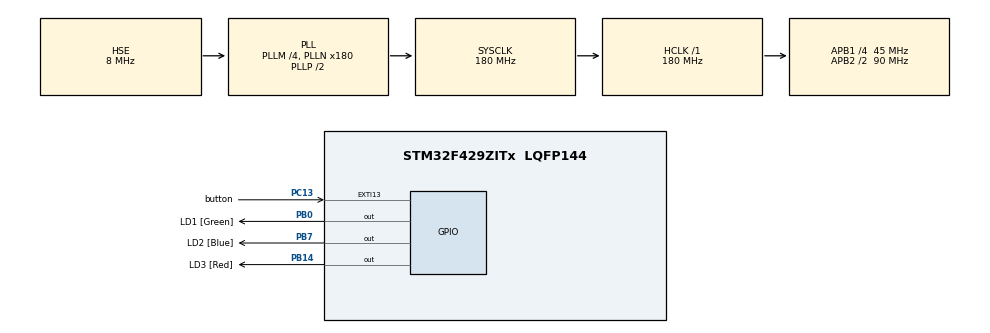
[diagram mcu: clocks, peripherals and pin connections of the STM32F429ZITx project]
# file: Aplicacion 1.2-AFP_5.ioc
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Mcu.Family=STM32F4
Mcu.Name=STM32F429ZITx
Mcu.Package=LQFP144
NVIC.PriorityGroup=NVIC_PRIORITYGROUP_4
PB0.GPIO_Label=LD1 [Green]
PB0.Signal=GPIO_Output
PB14.GPIO_Label=LD3 [Red]
PB14.Signal=GPIO_Output
PB7.GPIO_Label=LD2 [Blue]
PB7.Signal=GPIO_Output
PC13.GPIO_Label=button
PC13.Signal=GPXTI13
PH0/OSC_IN.Mode=HSE-External-Oscillator
PH0/OSC_IN.Signal=RCC_OSC_IN
PH1/OSC_OUT.Mode=HSE-External-Oscillator
PH1/OSC_OUT.Signal=RCC_OSC_OUT
ProjectManager.HeapSize=0x200
ProjectManager.StackSize=0x400
ProjectManager.TargetToolchain=STM32CubeIDE
RCC.48MHZClocksFreq_Value=51428571.428571425
RCC.AHBFreq_Value=180000000
RCC.APB1CLKDivider=RCC_HCLK_DIV4
RCC.APB1Freq_Value=45000000
RCC.APB1TimFreq_Value=90000000
RCC.APB2CLKDivider=RCC_HCLK_DIV2
RCC.APB2Freq_Value=90000000
RCC.APB2TimFreq_Value=180000000
RCC.CortexFreq_Value=180000000
RCC.HCLKFreq_Value=180000000
RCC.HSE_VALUE=8000000
RCC.HSI_VALUE=16000000
RCC.PLLM=4
RCC.PLLMUL=RCC_PLL_MUL9
RCC.PLLN=180
RCC.PLLQ=7
RCC.PLLSourceVirtual=RCC_PLLSOURCE_HSE
RCC.PRESCALERUSB=RCC_USBCLKSOURCE_PLL_DIV1_5
RCC.SYSCLKFreq_VALUE=180000000
RCC.SYSCLKSource=RCC_SYSCLKSOURCE_PLLCLK
RCC.SYSCLKSourceVirtual=RCC_SYSCLKSOURCE_PLLCLK
RCC.USBFreq_Value=48000000
RCC.VCOOutputFreq_Value=360000000
board=NUCLEO-F429ZI

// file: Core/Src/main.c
/* USER CODE BEGIN Header */
/**
  ******************************************************************************
  * @file           : main.c
  * @brief          : Main program body
  ******************************************************************************
  * @attention
  *
  * Copyright (c) 2026 STMicroelectronics.
  * All rights reserved.
  *
  * This software is licensed under terms that can be found in the LICENSE file
  * in the root directory of this software component.
  * If no LICENSE file comes with this software, it is provided AS-IS.
  *
  ******************************************************************************
  */
/* USER CODE END Header */
#include "main.h"
#include "string.h"
#include <stdbool.h>
/* USER CODE BEGIN Includes */
#include "API_GPIO.h"
#include "API_Delay.h"
#include "API_debounce.h"
/* USER CODE END Includes */

/* USER CODE BEGIN PTD */
typedef enum {
    ESTADO_LED1_ON,  // LED1 encendido
    ESTADO_LED2_ON,  // LED2 encendido
    ESTADO_LED3_ON   // LED3 encendido
} estadoSecuencia_t;

/* USER CODE END PTD */

/* USER CODE BEGIN PD */
#define LED1 LD1_Pin //led verde
#define LED2 LD2_Pin //led azul
#define LED3 LD3_Pin // led rojo
#define T1 200
/* USER CODE END PD */

/* USER CODE BEGIN PV */
led_t LEDS[] = {LED1, LED2, LED3};
estadoSecuencia_t estadoActual = ESTADO_LED1_ON;
delay_t pasoDelay;
/* USER CODE END PV */

void SystemClock_Config(void);

int main(void)
{

  /* MCU Configuration--------------------------------------------------------*/

  /* Reset of all peripherals, Initializes the Flash interface and the Systick. */
  HAL_Init();

  /* Configure the system clock */
  SystemClock_Config();

  /* Initialize all configured peripherals */
  MX_GPIO_Init();
  debounceFSM_init();
  /* USER CODE BEGIN 2 */
  delayInit(&pasoDelay, T1);

  /* USER CODE END 2 */

  /* Infinite loop */
  while (1)
  {

    /* USER CODE BEGIN 3 */

	  debounceFSM_update();

	          //-------Secuencia directa (0, 1, 2)------//
	    	  if (delayRead(&pasoDelay)) {

	    		  LEDapagado_GPIO(LEDS[0]);
	    		  LEDapagado_GPIO(LEDS[1]);
	              LEDapagado_GPIO(LEDS[2]);

	    		  if (sentido == 1) {
	    		     //------- Secuencia directa (LED1 -> LED2 -> LED3) ------//
	    		        switch (estadoActual) {
	    		                  case ESTADO_LED1_ON:
	    		                      LEDencendido_GPIO(LEDS[0]);
	    		                      estadoActual = ESTADO_LED2_ON;
	    		                      break;

	    		                  case ESTADO_LED2_ON:
	    		                      LEDencendido_GPIO(LEDS[1]);
	    		                      estadoActual = ESTADO_LED3_ON;
	    		                      break;

	    		                  case ESTADO_LED3_ON:
	    		                      LEDencendido_GPIO(LEDS[2]);
	    		                      estadoActual = ESTADO_LED1_ON;
	    		                      break;
	    		              }
	    		          }
	    		  else {
	    		     //-------- Secuencia inversa (LED3 -> LED2 -> LED1) -------//
	    		        switch (estadoActual) {
	    		                  case ESTADO_LED1_ON:
	    		                      LEDencendido_GPIO(LEDS[2]);
	    		                      estadoActual = ESTADO_LED2_ON;
	    		                      break;

	    		                  case ESTADO_LED2_ON:
	    		                      LEDencendido_GPIO(LEDS[1]);
	    		                      estadoActual = ESTADO_LED3_ON;
	    		                      break;

	    		                  case ESTADO_LED3_ON:
	    		                      LEDencendido_GPIO(LEDS[0]);
	    		                      estadoActual = ESTADO_LED1_ON;
	    		                      break;
	    		              }
	    		          }
	      }

  }
  /* USER CODE END 3 */
}

void SystemClock_Config(void)
{
  RCC_OscInitTypeDef RCC_OscInitStruct = {0};
  RCC_ClkInitTypeDef RCC_ClkInitStruct = {0};

  __HAL_RCC_PWR_CLK_ENABLE();
  __HAL_PWR_VOLTAGESCALING_CONFIG(PWR_REGULATOR_VOLTAGE_SCALE1);

  RCC_OscInitStruct.OscillatorType = RCC_OSCILLATORTYPE_HSE;
  RCC_OscInitStruct.HSEState = RCC_HSE_ON;
  RCC_OscInitStruct.PLL.PLLState = RCC_PLL_ON;
  RCC_OscInitStruct.PLL.PLLSource = RCC_PLLSOURCE_HSE;
  RCC_OscInitStruct.PLL.PLLM = 4;
  RCC_OscInitStruct.PLL.PLLN = 180;
  RCC_OscInitStruct.PLL.PLLP = RCC_PLLP_DIV2;
  RCC_OscInitStruct.PLL.PLLQ = 7;
  if (HAL_RCC_OscConfig(&RCC_OscInitStruct) != HAL_OK)
  {
    Error_Handler();
  }

  if (HAL_PWREx_EnableOverDrive() != HAL_OK)
  {
    Error_Handler();
  }

  RCC_ClkInitStruct.ClockType = RCC_CLOCKTYPE_HCLK|RCC_CLOCKTYPE_SYSCLK
                              |RCC_CLOCKTYPE_PCLK1|RCC_CLOCKTYPE_PCLK2;
  RCC_ClkInitStruct.SYSCLKSource = RCC_SYSCLKSOURCE_PLLCLK;
  RCC_ClkInitStruct.AHBCLKDivider = RCC_SYSCLK_DIV1;
  RCC_ClkInitStruct.APB1CLKDivider = RCC_HCLK_DIV4;
  RCC_ClkInitStruct.APB2CLKDivider = RCC_HCLK_DIV2;

  if (HAL_RCC_ClockConfig(&RCC_ClkInitStruct, FLASH_LATENCY_5) != HAL_OK)
  {
    Error_Handler();
  }
}

void Error_Handler(void)
{
  __disable_irq();
  while (1)
  {
  }
}
